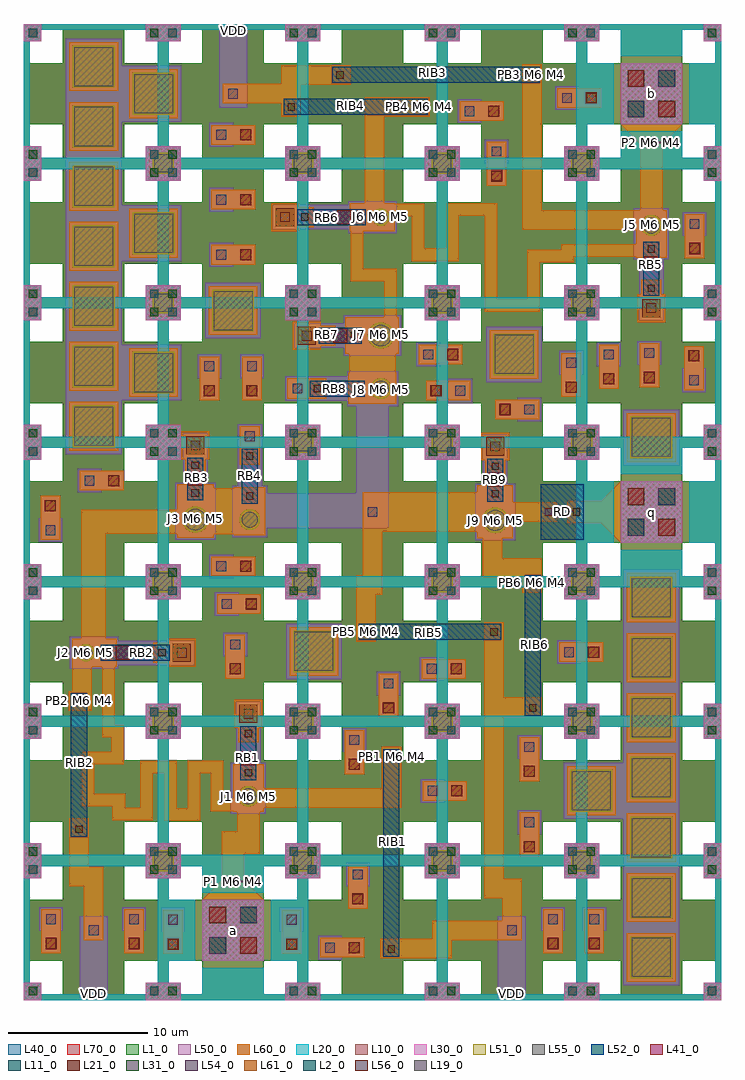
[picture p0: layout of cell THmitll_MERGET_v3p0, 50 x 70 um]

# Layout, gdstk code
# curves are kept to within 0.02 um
from math import pi, radians
import gdstk
lib = gdstk.Library(unit=1e-6, precision=1e-09)
def R(c, l, rs):  # rectangles x0, y0, x1, y1
    for r in rs: c.add(gdstk.rectangle(r[:2], r[2:], *l))
def P(c, l, *ps):  # polygons
    for p in ps: c.add(gdstk.Polygon(p, *l))
L1_0 = (1, 0)
L2_0 = (2, 0)
L10_0 = (10, 0)
L11_0 = (11, 0)
L19_0 = (19, 0)
L20_0 = (20, 0)
L21_0 = (21, 0)
L30_0 = (30, 0)
L31_0 = (31, 0)
L40_0 = (40, 0)
L41_0 = (41, 0)
L50_0 = (50, 0)
L51_0 = (51, 0)
L52_0 = (52, 0)
L54_0 = (54, 0)
L55_0 = (55, 0)
L56_0 = (56, 0)
L60_0 = (60, 0)
L61_0 = (61, 0)
L70_0 = (70, 0)

ls_tr_m7 = lib.new_cell('ls_tr_M7')
P(ls_tr_m7, L70_0, [(0,0),(0,10),(1.25,10),(1.25,8.75),(0.4,8.75),(0.4,1.25),(1.25,1.25),(1.25,0.4),(2.8,0.4),(2.8,2.8),(0.4,2.8),(0.4,7.2),(2.8,7.2),(2.8,9.6),(1.25,9.6),(1.25,10),(7.2,10),(7.2,0.4),(8.75,0.4),(8.75,1.25),(9.6,1.25),(9.6,2.8),(7.2,2.8),(7.2,7.2),(9.6,7.2),(9.6,8.75),(8.75,8.75),(8.75,9.6),(7.2,9.6),(7.2,10),(10,10),(10,0)])

ls_tr_u_m4 = lib.new_cell('ls_tr_u_M4')
P(ls_tr_u_m4, L1_0, [(0,0),(0,10),(1.25,10),(1.25,8.75),(0.4,8.75),(0.4,1.25),(1.25,1.25),(1.25,0.4),(2.8,0.4),(2.8,2.8),(0.4,2.8),(0.4,7.2),(2.8,7.2),(2.8,9.6),(1.25,9.6),(1.25,10),(7.2,10),(7.2,0.4),(8.75,0.4),(8.75,1.25),(9.6,1.25),(9.6,2.8),(7.2,2.8),(7.2,7.2),(9.6,7.2),(9.6,8.75),(8.75,8.75),(8.75,9.6),(7.2,9.6),(7.2,10),(10,10),(10,0)])
R(ls_tr_u_m4, L2_0, [(9.05,0.35,9.65,0.95), (0.35,9.05,0.95,9.65)])
R(ls_tr_u_m4, L10_0, [(0,0,1.25,1.25), (8.75,0,10,1.25), (0,8.75,1.25,10), (8.75,8.75,10,10)])
R(ls_tr_u_m4, L11_0, [(0.35,0.35,0.95,0.95), (9.05,9.05,9.65,9.65)])
P(ls_tr_u_m4, L20_0, [(0,0),(0,10),(1.25,10),(1.25,8.75),(0.4,8.75),(0.4,1.25),(1.25,1.25),(1.25,0.4),(8.75,0.4),(8.75,1.25),(9.6,1.25),(9.6,8.75),(8.75,8.75),(8.75,9.6),(1.25,9.6),(1.25,10),(10,10),(10,0)])
R(ls_tr_u_m4, L21_0, [(9.05,0.35,9.65,0.95), (0.35,9.05,0.95,9.65)])
R(ls_tr_u_m4, L30_0, [(0,0,1.25,1.25), (8.75,0,10,1.25), (0,8.75,1.25,10), (8.75,8.75,10,10)])
R(ls_tr_u_m4, L31_0, [(0.35,0.35,0.95,0.95), (9.05,9.05,9.65,9.65)])
P(ls_tr_u_m4, L40_0, [(0,0),(0,10),(1.25,10),(1.25,8.75),(0.4,8.75),(0.4,1.25),(1.25,1.25),(1.25,0.4),(2.8,0.4),(2.8,2.8),(0.4,2.8),(0.4,7.2),(2.8,7.2),(2.8,9.6),(1.25,9.6),(1.25,10),(7.2,10),(7.2,0.4),(8.75,0.4),(8.75,1.25),(9.6,1.25),(9.6,2.8),(7.2,2.8),(7.2,7.2),(9.6,7.2),(9.6,8.75),(8.75,8.75),(8.75,9.6),(7.2,9.6),(7.2,10),(10,10),(10,0)])
ls_tr_u_m4.add(gdstk.Reference(ls_tr_m7, (0,0)))

ls_conn_m5m6m7 = lib.new_cell('ls_conn_M5M6M7')
R(ls_conn_m5m6m7, L60_0, [(-0.65,-0.65,1.35,1.35)])
R(ls_conn_m5m6m7, L61_0, [(-0.3,-0.3,1,1)])
R(ls_conn_m5m6m7, L70_0, [(-0.65,-0.65,1.35,1.35)])

th_jj_160_sg = lib.new_cell('th_jj_160_sg')
R(th_jj_160_sg, L41_0, [(-0.5,2.225,0.5,3.225)])
R(th_jj_160_sg, L50_0, [(-1.25,-1.25,1.25,2.425), (-0.875,2.425,0.875,6.8)])
P(th_jj_160_sg, L51_0, [(0,-0.735),(-0.28,-0.68),(-0.52,-0.52),(-0.68,-0.28),(-0.735,0),(-0.68,0.28),(-0.52,0.52),(-0.28,0.68),(0,0.735),(0.28,0.68),(0.52,0.52),(0.68,0.28),(0.735,0),(0.68,-0.28),(0.52,-0.52),(0.28,-0.68)])
R(th_jj_160_sg, L52_0, [(-0.575,1.15,0.575,5.05)])
R(th_jj_160_sg, L54_0, [(-0.35,5.575,0.35,6.275)])
P(th_jj_160_sg, L55_0, [(0,-0.58),(-0.22,-0.54),(-0.41,-0.41),(-0.54,-0.22),(-0.58,0),(-0.54,0.23),(-0.41,0.42),(-0.22,0.54),(0,0.59),(0.22,0.54),(0.41,0.42),(0.54,0.23),(0.58,0),(0.54,-0.22),(0.41,-0.41),(0.22,-0.54)])
R(th_jj_160_sg, L56_0, [(-0.26,1.43,0.26,1.95), (-0.26,4.25,0.26,4.77)])
R(th_jj_160_sg, L60_0, [(-1.1,-1.1,1.1,2.325), (-0.725,3.875,0.725,6.65)])
th_jj_160_sg.add(gdstk.Reference(ls_conn_m5m6m7, (0.35,5.575), rotation=pi/2))

ls_res_1p36 = lib.new_cell('ls_res_1p36')
R(ls_res_1p36, L52_0, [(-2,0,2,3.1)])
R(ls_res_1p36, L56_0, [(-0.26,0.29,0.26,0.81), (-0.26,2.3,0.26,2.82)])
R(ls_res_1p36, L60_0, [(-0.625,-0.1,0.625,1.175), (-0.625,1.925,0.625,3.2)])

th_jj_250_sg = lib.new_cell('th_jj_250_sg')
R(th_jj_250_sg, L41_0, [(-0.5,2.4,0.5,3.4)])
R(th_jj_250_sg, L50_0, [(-1.425,-1.425,1.425,2.625), (-0.875,2.625,0.875,6.175)])
P(th_jj_250_sg, L51_0, [(0,-0.91),(-0.18,-0.895),(-0.35,-0.84),(-0.645,-0.645),(-0.84,-0.35),(-0.91,0),(-0.895,0.18),(-0.84,0.35),(-0.645,0.645),(-0.35,0.84),(-0.18,0.895),(0,0.91),(0.18,0.895),(0.35,0.84),(0.645,0.645),(0.84,0.35),(0.895,0.18),(0.91,0),(0.84,-0.35),(0.645,-0.645),(0.35,-0.84),(0.18,-0.895)])
R(th_jj_250_sg, L52_0, [(-0.575,1.35,0.575,4.425)])
R(th_jj_250_sg, L54_0, [(-0.35,4.95,0.35,5.65)])
P(th_jj_250_sg, L55_0, [(0,-0.76),(-0.15,-0.75),(-0.29,-0.7),(-0.54,-0.54),(-0.7,-0.29),(-0.75,-0.15),(-0.76,0),(-0.75,0.15),(-0.7,0.29),(-0.54,0.54),(-0.29,0.7),(-0.15,0.75),(0,0.76),(0.15,0.75),(0.29,0.7),(0.54,0.54),(0.7,0.29),(0.75,0.15),(0.76,0),(0.75,-0.15),(0.7,-0.29),(0.54,-0.54),(0.29,-0.7),(0.15,-0.75)])
R(th_jj_250_sg, L56_0, [(-0.26,1.64,0.26,2.16), (-0.26,3.63,0.26,4.15)])
R(th_jj_250_sg, L60_0, [(-1.275,-1.275,1.275,2.525), (-0.725,3.25,0.725,6.025)])
th_jj_250_sg.add(gdstk.Reference(ls_conn_m5m6m7, (0.35,4.95), rotation=pi/2))

th_jj_156_s = lib.new_cell('th_jj_156_s')
R(th_jj_156_s, L50_0, [(-1.25,-1.25,1.25,2.425), (-0.875,2.425,0.875,6.85)])
P(th_jj_156_s, L51_0, [(-0.06,-0.725),(-0.06,-0.72),(-0.105,-0.72),(-0.105,-0.715),(-0.135,-0.715),(-0.135,-0.71),(-0.155,-0.71),(-0.155,-0.705),(-0.18,-0.705),(-0.18,-0.7),(-0.195,-0.7),(-0.195,-0.695),(-0.215,-0.695),(-0.215,-0.69),(-0.23,-0.69),(-0.23,-0.685),(-0.245,-0.685),(-0.245,-0.68),(-0.26,-0.68),(-0.26,-0.675),(-0.27,-0.675),(-0.27,-0.67),(-0.28,-0.67),(-0.28,-0.665),(-0.295,-0.665),(-0.295,-0.66),(-0.305,-0.66),(-0.305,-0.655),(-0.315,-0.655),(-0.315,-0.65),(-0.325,-0.65),(-0.325,-0.645),(-0.335,-0.645),(-0.335,-0.64),(-0.345,-0.64),(-0.345,-0.635),(-0.355,-0.635),(-0.355,-0.63),(-0.36,-0.63),(-0.36,-0.625),(-0.37,-0.625),(-0.37,-0.62),(-0.38,-0.62),(-0.38,-0.615),(-0.385,-0.615),(-0.385,-0.61),(-0.395,-0.61),(-0.395,-0.605),(-0.4,-0.605),(-0.4,-0.6),(-0.41,-0.6),(-0.41,-0.595),(-0.415,-0.595),(-0.415,-0.59),(-0.425,-0.59),(-0.425,-0.585),(-0.43,-0.585),(-0.43,-0.58),(-0.435,-0.58),(-0.435,-0.575),(-0.445,-0.575),(-0.445,-0.57),(-0.45,-0.57),(-0.45,-0.565),(-0.455,-0.565),(-0.455,-0.56),(-0.46,-0.56),(-0.46,-0.555),(-0.47,-0.555),(-0.47,-0.55),(-0.475,-0.55),(-0.475,-0.545),(-0.48,-0.545),(-0.48,-0.54),(-0.485,-0.54),(-0.485,-0.535),(-0.49,-0.535),(-0.49,-0.53),(-0.495,-0.53),(-0.495,-0.525),(-0.5,-0.525),(-0.5,-0.52),(-0.505,-0.52),(-0.505,-0.515),(-0.51,-0.515),(-0.51,-0.51),(-0.515,-0.51),(-0.515,-0.505),(-0.52,-0.505),(-0.52,-0.5),(-0.525,-0.5),(-0.525,-0.495),(-0.53,-0.495),(-0.53,-0.49),(-0.535,-0.49),(-0.535,-0.485),(-0.545,-0.485),(-0.545,-0.47),(-0.55,-0.47),(-0.55,-0.465),(-0.555,-0.465),(-0.555,-0.46),(-0.565,-0.46),(-0.565,-0.445),(-0.57,-0.445),(-0.57,-0.44),(-0.58,-0.44),(-0.58,-0.425),(-0.585,-0.425),(-0.585,-0.42),(-0.595,-0.42),(-0.595,-0.405),(-0.605,-0.405),(-0.605,-0.39),(-0.615,-0.39),(-0.615,-0.375),(-0.625,-0.375),(-0.625,-0.365),(-0.63,-0.365),(-0.63,-0.35),(-0.64,-0.35),(-0.64,-0.33),(-0.65,-0.33),(-0.65,-0.31),(-0.66,-0.31),(-0.66,-0.295),(-0.665,-0.295),(-0.665,-0.285),(-0.67,-0.285),(-0.67,-0.275),(-0.675,-0.275),(-0.675,-0.26),(-0.68,-0.26),(-0.68,-0.25),(-0.685,-0.25),(-0.685,-0.23),(-0.69,-0.23),(-0.69,-0.215),(-0.695,-0.215),(-0.695,-0.2),(-0.7,-0.2),(-0.7,-0.18),(-0.705,-0.18),(-0.705,-0.16),(-0.71,-0.16),(-0.71,-0.135),(-0.715,-0.135),(-0.715,-0.11),(-0.72,-0.11),(-0.72,-0.07),(-0.725,-0.07),(-0.725,0.065),(-0.72,0.065),(-0.72,0.105),(-0.715,0.105),(-0.715,0.135),(-0.71,0.135),(-0.71,0.16),(-0.705,0.16),(-0.705,0.18),(-0.7,0.18),(-0.7,0.2),(-0.695,0.2),(-0.695,0.215),(-0.69,0.215),(-0.69,0.23),(-0.685,0.23),(-0.685,0.245),(-0.68,0.245),(-0.68,0.26),(-0.675,0.26),(-0.675,0.275),(-0.67,0.275),(-0.67,0.285),(-0.665,0.285),(-0.665,0.295),(-0.66,0.295),(-0.66,0.305),(-0.655,0.305),(-0.655,0.315),(-0.65,0.315),(-0.65,0.325),(-0.645,0.325),(-0.645,0.335),(-0.64,0.335),(-0.64,0.345),(-0.635,0.345),(-0.635,0.355),(-0.63,0.355),(-0.63,0.37),(-0.62,0.37),(-0.62,0.38),(-0.615,0.38),(-0.615,0.395),(-0.605,0.395),(-0.605,0.41),(-0.6,0.41),(-0.6,0.415),(-0.59,0.415),(-0.59,0.43),(-0.58,0.43),(-0.58,0.445),(-0.575,0.445),(-0.575,0.45),(-0.57,0.45),(-0.57,0.455),(-0.56,0.455),(-0.56,0.47),(-0.555,0.47),(-0.555,0.475),(-0.55,0.475),(-0.55,0.48),(-0.545,0.48),(-0.545,0.485),(-0.54,0.485),(-0.54,0.49),(-0.535,0.49),(-0.535,0.495),(-0.53,0.495),(-0.53,0.5),(-0.525,0.5),(-0.525,0.505),(-0.52,0.505),(-0.52,0.51),(-0.515,0.51),(-0.515,0.515),(-0.51,0.515),(-0.51,0.52),(-0.505,0.52),(-0.505,0.525),(-0.5,0.525),(-0.5,0.53),(-0.495,0.53),(-0.495,0.535),(-0.49,0.535),(-0.49,0.54),(-0.485,0.54),(-0.485,0.545),(-0.475,0.545),(-0.475,0.55),(-0.47,0.55),(-0.47,0.555),(-0.465,0.555),(-0.465,0.56),(-0.46,0.56),(-0.46,0.565),(-0.455,0.565),(-0.455,0.57),(-0.45,0.57),(-0.45,0.575),(-0.44,0.575),(-0.44,0.58),(-0.435,0.58),(-0.435,0.585),(-0.43,0.585),(-0.43,0.59),(-0.42,0.59),(-0.42,0.595),(-0.415,0.595),(-0.415,0.6),(-0.405,0.6),(-0.405,0.605),(-0.4,0.605),(-0.4,0.61),(-0.39,0.61),(-0.39,0.615),(-0.385,0.615),(-0.385,0.62),(-0.375,0.62),(-0.375,0.625),(-0.365,0.625),(-0.365,0.63),(-0.355,0.63),(-0.355,0.635),(-0.35,0.635),(-0.35,0.64),(-0.34,0.64),(-0.34,0.645),(-0.33,0.645),(-0.33,0.65),(-0.32,0.65),(-0.32,0.655),(-0.31,0.655),(-0.31,0.66),(-0.3,0.66),(-0.3,0.665),(-0.29,0.665),(-0.29,0.67),(-0.275,0.67),(-0.275,0.675),(-0.26,0.675),(-0.26,0.68),(-0.25,0.68),(-0.25,0.685),(-0.235,0.685),(-0.235,0.69),(-0.22,0.69),(-0.22,0.695),(-0.205,0.695),(-0.205,0.7),(-0.185,0.7),(-0.185,0.705),(-0.165,0.705),(-0.165,0.71),(-0.14,0.71),(-0.14,0.715),(-0.115,0.715),(-0.115,0.72),(-0.075,0.72),(-0.075,0.725),(0.07,0.725),(0.07,0.72),(0.11,0.72),(0.11,0.715),(0.14,0.715),(0.14,0.71),(0.165,0.71),(0.165,0.705),(0.18,0.705),(0.18,0.7),(0.2,0.7),(0.2,0.695),(0.215,0.695),(0.215,0.69),(0.235,0.69),(0.235,0.685),(0.245,0.685),(0.245,0.68),(0.26,0.68),(0.26,0.675),(0.27,0.675),(0.27,0.67),(0.285,0.67),(0.285,0.665),(0.295,0.665),(0.295,0.66),(0.305,0.66),(0.305,0.655),(0.32,0.655),(0.32,0.65),(0.325,0.65),(0.325,0.645),(0.335,0.645),(0.335,0.64),(0.345,0.64),(0.345,0.635),(0.355,0.635),(0.355,0.63),(0.365,0.63),(0.365,0.625),(0.375,0.625),(0.375,0.62),(0.38,0.62),(0.38,0.615),(0.39,0.615),(0.39,0.61),(0.395,0.61),(0.395,0.605),(0.405,0.605),(0.405,0.6),(0.41,0.6),(0.41,0.595),(0.42,0.595),(0.42,0.59),(0.425,0.59),(0.425,0.585),(0.43,0.585),(0.43,0.58),(0.44,0.58),(0.44,0.575),(0.445,0.575),(0.445,0.57),(0.45,0.57),(0.45,0.565),(0.455,0.565),(0.455,0.56),(0.465,0.56),(0.465,0.555),(0.47,0.555),(0.47,0.55),(0.475,0.55),(0.475,0.545),(0.48,0.545),(0.48,0.54),(0.485,0.54),(0.485,0.535),(0.49,0.535),(0.49,0.53),(0.495,0.53),(0.495,0.525),(0.5,0.525),(0.5,0.52),(0.505,0.52),(0.505,0.515),(0.51,0.515),(0.51,0.51),(0.515,0.51),(0.515,0.505),(0.52,0.505),(0.52,0.5),(0.525,0.5),(0.525,0.495),(0.53,0.495),(0.53,0.49),(0.535,0.49),(0.535,0.485),(0.545,0.485),(0.545,0.47),(0.55,0.47),(0.55,0.465),(0.555,0.465),(0.555,0.46),(0.56,0.46),(0.56,0.455),(0.57,0.455),(0.57,0.44),(0.575,0.44),(0.575,0.435),(0.585,0.435),(0.585,0.42),(0.595,0.42),(0.595,0.405),(0.6,0.405),(0.6,0.4),(0.61,0.4),(0.61,0.385),(0.62,0.385),(0.62,0.375),(0.625,0.375),(0.625,0.365),(0.63,0.365),(0.63,0.35),(0.64,0.35),(0.64,0.34),(0.645,0.34),(0.645,0.33),(0.65,0.33),(0.65,0.32),(0.655,0.32),(0.655,0.31),(0.66,0.31),(0.66,0.295),(0.665,0.295),(0.665,0.285),(0.67,0.285),(0.67,0.275),(0.675,0.275),(0.675,0.26),(0.68,0.26),(0.68,0.25),(0.685,0.25),(0.685,0.235),(0.69,0.235),(0.69,0.22),(0.695,0.22),(0.695,0.2),(0.7,0.2),(0.7,0.185),(0.705,0.185),(0.705,0.16),(0.71,0.16),(0.71,0.14),(0.715,0.14),(0.715,0.11),(0.72,0.11),(0.72,0.07),(0.725,0.07),(0.725,-0.065),(0.72,-0.065),(0.72,-0.105),(0.715,-0.105),(0.715,-0.135),(0.71,-0.135),(0.71,-0.16),(0.705,-0.16),(0.705,-0.18),(0.7,-0.18),(0.7,-0.2),(0.695,-0.2),(0.695,-0.215),(0.69,-0.215),(0.69,-0.23),(0.685,-0.23),(0.685,-0.245),(0.68,-0.245),(0.68,-0.26),(0.675,-0.26),(0.675,-0.27),(0.67,-0.27),(0.67,-0.28),(0.665,-0.28),(0.665,-0.295),(0.66,-0.295),(0.66,-0.305),(0.655,-0.305),(0.655,-0.315),(0.65,-0.315),(0.65,-0.325),(0.645,-0.325),(0.645,-0.335),(0.64,-0.335),(0.64,-0.345),(0.635,-0.345),(0.635,-0.36),(0.625,-0.36),(0.625,-0.37),(0.62,-0.37),(0.62,-0.38),(0.615,-0.38),(0.615,-0.395),(0.61,-0.395),(0.61,-0.4),(0.6,-0.4),(0.6,-0.415),(0.59,-0.415),(0.59,-0.43),(0.585,-0.43),(0.585,-0.435),(0.575,-0.435),(0.575,-0.45),(0.57,-0.45),(0.57,-0.455),(0.565,-0.455),(0.565,-0.46),(0.555,-0.46),(0.555,-0.475),(0.55,-0.475),(0.55,-0.48),(0.545,-0.48),(0.545,-0.485),(0.54,-0.485),(0.54,-0.49),(0.535,-0.49),(0.535,-0.495),(0.53,-0.495),(0.53,-0.5),(0.525,-0.5),(0.525,-0.505),(0.52,-0.505),(0.52,-0.51),(0.515,-0.51),(0.515,-0.515),(0.51,-0.515),(0.51,-0.52),(0.505,-0.52),(0.505,-0.525),(0.5,-0.525),(0.5,-0.53),(0.495,-0.53),(0.495,-0.535),(0.49,-0.535),(0.49,-0.54),(0.48,-0.54),(0.48,-0.545),(0.475,-0.545),(0.475,-0.55),(0.47,-0.55),(0.47,-0.555),(0.465,-0.555),(0.465,-0.56),(0.46,-0.56),(0.46,-0.565),(0.45,-0.565),(0.45,-0.57),(0.445,-0.57),(0.445,-0.575),(0.44,-0.575),(0.44,-0.58),(0.435,-0.58),(0.435,-0.585),(0.425,-0.585),(0.425,-0.59),(0.42,-0.59),(0.42,-0.595),(0.41,-0.595),(0.41,-0.6),(0.405,-0.6),(0.405,-0.605),(0.395,-0.605),(0.395,-0.61),(0.39,-0.61),(0.39,-0.615),(0.38,-0.615),(0.38,-0.62),(0.375,-0.62),(0.375,-0.625),(0.365,-0.625),(0.365,-0.63),(0.355,-0.63),(0.355,-0.635),(0.35,-0.635),(0.35,-0.64),(0.335,-0.64),(0.335,-0.645),(0.33,-0.645),(0.33,-0.65),(0.315,-0.65),(0.315,-0.655),(0.305,-0.655),(0.305,-0.66),(0.295,-0.66),(0.295,-0.665),(0.285,-0.665),(0.285,-0.67),(0.275,-0.67),(0.275,-0.675),(0.26,-0.675),(0.26,-0.68),(0.245,-0.68),(0.245,-0.685),(0.23,-0.685),(0.23,-0.69),(0.215,-0.69),(0.215,-0.695),(0.2,-0.695),(0.2,-0.7),(0.18,-0.7),(0.18,-0.705),(0.16,-0.705),(0.16,-0.71),(0.135,-0.71),(0.135,-0.715),(0.105,-0.715),(0.105,-0.72),(0.06,-0.72),(0.06,-0.725)])
R(th_jj_156_s, L52_0, [(-0.575,1.15,0.575,5.1)])
R(th_jj_156_s, L54_0, [(-0.35,5.625,0.35,6.325)])
P(th_jj_156_s, L55_0, [(0,-0.58),(-0.22,-0.54),(-0.41,-0.41),(-0.53,-0.23),(-0.58,0),(-0.53,0.22),(-0.41,0.4),(-0.22,0.53),(0,0.57),(0.22,0.53),(0.41,0.4),(0.53,0.22),(0.58,0),(0.53,-0.23),(0.41,-0.41),(0.22,-0.54)])
R(th_jj_156_s, L56_0, [(-0.26,1.43,0.26,1.95), (-0.26,4.31,0.26,4.83)])
R(th_jj_156_s, L60_0, [(-1.1,-1.1,1.1,2.325), (-0.725,3.925,0.725,6.7)])

th_jj_110_sg = lib.new_cell('th_jj_110_sg')
R(th_jj_110_sg, L41_0, [(-0.5,2.125,0.5,3.125)])
R(th_jj_110_sg, L50_0, [(-1.15,-1.15,1.15,2.325), (-0.875,2.325,0.875,7.75)])
P(th_jj_110_sg, L51_0, [(0,-0.615),(-0.235,-0.57),(-0.435,-0.435),(-0.57,-0.235),(-0.615,0),(-0.57,0.235),(-0.435,0.435),(-0.235,0.565),(0,0.615),(0.235,0.565),(0.435,0.435),(0.57,0.235),(0.615,0),(0.57,-0.235),(0.435,-0.435),(0.235,-0.57)])
R(th_jj_110_sg, L52_0, [(-0.575,1.075,0.575,6)])
R(th_jj_110_sg, L54_0, [(-0.35,6.525,0.35,7.225)])
P(th_jj_110_sg, L55_0, [(0,-0.46),(-0.18,-0.43),(-0.33,-0.32),(-0.43,-0.17),(-0.47,0.01),(-0.43,0.18),(-0.33,0.33),(-0.18,0.43),(0,0.47),(0.18,0.43),(0.33,0.33),(0.43,0.18),(0.47,0.01),(0.43,-0.17),(0.33,-0.32),(0.18,-0.43)])
R(th_jj_110_sg, L56_0, [(-0.26,1.34,0.26,1.86), (-0.26,5.2,0.26,5.72)])
R(th_jj_110_sg, L60_0, [(-1,-1,1,2.225), (-0.725,4.825,0.725,7.6)])
th_jj_110_sg.add(gdstk.Reference(ls_conn_m5m6m7, (0.35,6.525), rotation=pi/2))

th_jj_261_sg = lib.new_cell('th_jj_261_sg')
R(th_jj_261_sg, L41_0, [(-0.5,2.425,0.5,3.425)])
R(th_jj_261_sg, L50_0, [(-1.45,-1.45,1.45,2.65), (-0.875,2.65,0.875,6.2)])
P(th_jj_261_sg, L51_0, [(0,-0.93),(-0.355,-0.86),(-0.66,-0.66),(-0.86,-0.355),(-0.93,0),(-0.86,0.355),(-0.66,0.655),(-0.355,0.86),(0,0.93),(0.355,0.86),(0.66,0.655),(0.86,0.355),(0.93,0),(0.86,-0.355),(0.66,-0.66),(0.355,-0.86)])
R(th_jj_261_sg, L52_0, [(-0.575,1.375,0.575,4.45)])
R(th_jj_261_sg, L54_0, [(-0.35,4.975,0.35,5.675)])
P(th_jj_261_sg, L55_0, [(0,-0.78),(-0.3,-0.72),(-0.55,-0.55),(-0.72,-0.3),(-0.78,0),(-0.72,0.3),(-0.55,0.55),(-0.3,0.72),(0,0.78),(0.3,0.72),(0.55,0.55),(0.72,0.3),(0.78,0),(0.72,-0.3),(0.55,-0.55),(0.3,-0.72)])
R(th_jj_261_sg, L56_0, [(-0.29,1.65,0.29,2.17), (-0.29,3.65,0.29,4.17)])
R(th_jj_261_sg, L60_0, [(-1.3,-1.3,1.3,2.55), (-0.725,3.275,0.725,6.05)])
th_jj_261_sg.add(gdstk.Reference(ls_conn_m5m6m7, (0.35,4.975), rotation=pi/2))

th_ib_112 = lib.new_cell('th_ib_112')
R(th_ib_112, L52_0, [(-0.575,0,0.575,14.875)])
R(th_ib_112, L56_0, [(-0.26,0.29,0.26,0.81), (-0.26,14.07,0.26,14.59)])
R(th_ib_112, L60_0, [(-0.625,-0.1,0.625,1.175), (-0.625,13.7,0.625,14.975)])

th_ib_170 = lib.new_cell('th_ib_170')
R(th_ib_170, L52_0, [(-0.575,0,0.575,10.3)])
R(th_ib_170, L56_0, [(-0.26,0.29,0.26,0.81), (-0.26,9.52,0.26,10.04)])
R(th_ib_170, L60_0, [(-0.625,-0.1,0.625,1.175), (-0.625,9.15,0.625,10.4)])

th_ib_171 = lib.new_cell('th_ib_171')
R(th_ib_171, L52_0, [(-0.575,0,0.575,10.25)])
R(th_ib_171, L56_0, [(-0.26,0.29,0.26,0.81), (-0.26,9.46,0.26,9.98)])
R(th_ib_171, L60_0, [(-0.625,-0.1,0.625,1.175), (-0.625,9.1,0.625,10.35)])

th_ib_175 = lib.new_cell('th_ib_175')
R(th_ib_175, L52_0, [(-0.575,0,0.575,10.05)])
R(th_ib_175, L56_0, [(-0.26,0.29,0.26,0.81), (-0.26,9.26,0.26,9.78)])
R(th_ib_175, L60_0, [(-0.625,-0.1,0.625,1.175), (-0.625,8.9,0.625,10.15)])

ls_tr_ptlconnection = lib.new_cell('ls_tr_PTLconnection')
P(ls_tr_ptlconnection, L1_0, [(0,0),(0,10),(1.25,10),(1.25,8.75),(0.4,8.75),(0.4,1.25),(1.25,1.25),(1.25,0.4),(2.8,0.4),(2.8,2.8),(0.4,2.8),(0.4,7.2),(2.8,7.2),(2.8,9.6),(1.25,9.6),(1.25,10),(7.2,10),(7.2,0.4),(8.75,0.4),(8.75,1.25),(9.6,1.25),(9.6,2.8),(7.2,2.8),(7.2,7.2),(9.6,7.2),(9.6,8.75),(8.75,8.75),(8.75,9.6),(7.2,9.6),(7.2,10),(10,10),(10,0)])
R(ls_tr_ptlconnection, L2_0, [(9.05,0.35,9.65,0.95), (0.35,9.05,0.95,9.65)])
R(ls_tr_ptlconnection, L10_0, [(0,0,1.25,1.25), (8.75,0,10,1.25), (2.8,2.8,7.2,7.2), (0,8.75,1.25,10), (8.75,8.75,10,10)])
R(ls_tr_ptlconnection, L11_0, [(0.35,0.35,0.95,0.95), (3.3,3.3,4.5,4.5), (5.5,5.5,6.7,6.7), (9.05,9.05,9.65,9.65)])
R(ls_tr_ptlconnection, L20_0, [(2.8,2.8,7.2,7.2)])
P(ls_tr_ptlconnection, L20_0, [(0,0),(0,10),(7.2,10),(7.2,7.7),(2.8,7.7),(2.8,9.6),(1.25,9.6),(1.25,8.75),(0.4,8.75),(0.4,7.2),(2.3,7.2),(2.3,2.8),(0.4,2.8),(0.4,1.25),(1.25,1.25),(1.25,0.4),(2.8,0.4),(2.8,2.3),(7.2,2.3),(7.2,0.4),(8.75,0.4),(8.75,1.25),(9.6,1.25),(9.6,2.8),(7.7,2.8),(7.7,7.2),(9.6,7.2),(9.6,8.75),(8.75,8.75),(8.75,9.6),(7.2,9.6),(7.2,10),(10,10),(10,0)])
R(ls_tr_ptlconnection, L21_0, [(9.05,0.35,9.65,0.95), (5.5,3.3,6.7,4.5), (3.3,5.5,4.5,6.7), (0.35,9.05,0.95,9.65)])
R(ls_tr_ptlconnection, L30_0, [(0,0,1.25,1.25), (8.75,0,10,1.25), (2.8,2.8,7.2,7.2), (0,8.75,1.25,10), (8.75,8.75,10,10)])
R(ls_tr_ptlconnection, L31_0, [(0.35,0.35,0.95,0.95), (3.3,3.3,4.5,4.5), (5.5,5.5,6.7,6.7), (9.05,9.05,9.65,9.65)])
R(ls_tr_ptlconnection, L40_0, [(2.8,2.8,7.2,7.2)])
P(ls_tr_ptlconnection, L40_0, [(0,0),(0,10),(7.2,10),(7.2,7.7),(2.8,7.7),(2.8,9.6),(1.25,9.6),(1.25,8.75),(0.4,8.75),(0.4,7.2),(2.3,7.2),(2.3,2.8),(0.4,2.8),(0.4,1.25),(1.25,1.25),(1.25,0.4),(2.8,0.4),(2.8,2.3),(7.2,2.3),(7.2,0.4),(8.75,0.4),(8.75,1.25),(9.6,1.25),(9.6,2.8),(7.7,2.8),(7.7,7.2),(9.6,7.2),(9.6,8.75),(8.75,8.75),(8.75,9.6),(7.2,9.6),(7.2,10),(10,10),(10,0)])
R(ls_tr_ptlconnection, L41_0, [(5.5,3.3,6.7,4.5), (3.3,5.5,4.5,6.7)])
R(ls_tr_ptlconnection, L50_0, [(2.8,2.8,7.2,7.2)])
R(ls_tr_ptlconnection, L54_0, [(3.3,3.3,4.5,4.5), (5.5,5.5,6.7,6.7)])
R(ls_tr_ptlconnection, L60_0, [(2.8,2.8,7.2,7.2)])
P(ls_tr_ptlconnection, L70_0, [(0,0),(0,10),(1.25,10),(1.25,8.75),(0.4,8.75),(0.4,1.25),(1.25,1.25),(1.25,0.4),(2.8,0.4),(2.8,2.8),(0.4,2.8),(0.4,7.2),(2.8,7.2),(2.8,9.6),(1.25,9.6),(1.25,10),(7.2,10),(7.2,0.4),(8.75,0.4),(8.75,1.25),(9.6,1.25),(9.6,2.8),(7.2,2.8),(7.2,7.2),(9.6,7.2),(9.6,8.75),(8.75,8.75),(8.75,9.6),(7.2,9.6),(7.2,10),(10,10),(10,0)])

ls_conn_m5m6 = lib.new_cell('ls_conn_M5M6')
R(ls_conn_m5m6, L50_0, [(0,0,1.7,1.7)])
R(ls_conn_m5m6, L54_0, [(0.5,0.5,1.2,1.2)])
R(ls_conn_m5m6, L60_0, [(0.15,0.15,1.55,1.55)])

ls_fakejj_3x3um = lib.new_cell('ls_fakeJJ_3x3um')
R(ls_fakejj_3x3um, L40_0, [(-2,-2,2,2)])
R(ls_fakejj_3x3um, L50_0, [(-2,-2,2,2)])
R(ls_fakejj_3x3um, L51_0, [(-1.5,-1.5,1.5,1.5)])
R(ls_fakejj_3x3um, L55_0, [(-1.4,-1.4,1.4,1.4)])
R(ls_fakejj_3x3um, L60_0, [(-1.75,-1.75,1.75,1.75)])

ls_conn_m4m5m6m7 = lib.new_cell('ls_conn_M4M5M6M7')
R(ls_conn_m4m5m6m7, L40_0, [(0,0,1.4,1.4)])
R(ls_conn_m4m5m6m7, L41_0, [(0.3,0.3,1.1,1.1)])
P(ls_conn_m4m5m6m7, L50_0, [(1.6,-0.15),(1.6,0),(0,0),(0,1.4),(1.6,1.4),(1.6,1.55),(3.3,1.55),(3.3,-0.15)])
R(ls_conn_m4m5m6m7, L54_0, [(2.1,0.35,2.8,1.05)])
R(ls_conn_m4m5m6m7, L60_0, [(0,0,3.15,1.4)])
R(ls_conn_m4m5m6m7, L61_0, [(0.35,0.35,1.05,1.05)])
R(ls_conn_m4m5m6m7, L70_0, [(0,0,1.4,1.4)])

ls_fakejj_1p5x1p5um = lib.new_cell('ls_FakeJJ_1p5x1p5um')
R(ls_fakejj_1p5x1p5um, L40_0, [(-1.25,-1.25,1.25,1.25)])
R(ls_fakejj_1p5x1p5um, L50_0, [(-1.25,-1.25,1.25,1.25)])
R(ls_fakejj_1p5x1p5um, L51_0, [(-0.75,-0.75,0.75,0.75)])
R(ls_fakejj_1p5x1p5um, L55_0, [(-0.65,-0.65,0.65,0.65)])
R(ls_fakejj_1p5x1p5um, L60_0, [(-1,-1,1,1)])

thmitll_merget_v3p0 = lib.new_cell('THmitll_MERGET_v3p0')
P(thmitll_merget_v3p0, L1_0, [(17.2,47.2),(17.2,49.6),(18.75,49.6),(18.75,48.75),(19.6,48.75),(19.6,47.2)],
  [(20.4,47.2),(20.4,48.75),(21.25,48.75),(21.25,49.6),(22.8,49.6),(22.8,47.2)],
  [(11.25,40.4),(11.25,41.25),(10.4,41.25),(10.4,42.8),(12.8,42.8),(12.8,40.4)],
  [(10.4,37.2),(10.4,38.75),(11.25,38.75),(11.25,39.6),(12.8,39.6),(12.8,37.2)])
R(thmitll_merget_v3p0, L19_0, [(26.1,17.15,26.7,17.7), (3.7,21.25,4.2,21.75), (24.3,26.1,24.85,26.65), (36.3,29.7,36.8,30.15), (37.35,34.75,37.85,35.25), (28.2,63.75,28.7,64.35), (36.2,66.1,36.7,66.6)])
P(thmitll_merget_v3p0, L40_0, [(20.4,47.2),(20.4,48.75),(21.25,48.75),(21.25,49.6),(22.8,49.6),(22.8,47.2)],
  [(10.4,37.2),(10.4,38.75),(11.25,38.75),(11.25,39.6),(12.8,39.6),(12.8,37.2)],
  [(11.25,40.4),(11.25,41.25),(10.4,41.25),(10.4,42.8),(12.8,42.8),(12.8,40.4)],
  [(17.2,47.2),(17.2,49.6),(18.75,49.6),(18.75,48.75),(19.6,48.75),(19.6,47.2)])
R(thmitll_merget_v3p0, L50_0, [(43,1.05,47,30.85), (38.7,13,43.45,17), (3,39.15,7,68.95), (6.1,43,11.3,47), (6.4,53,11.3,57), (6.6,63,11.3,67)])
P(thmitll_merget_v3p0, L60_0, [(45,60.6),(42.8,62.8),(47.2,62.8)],
  [(12.8,7.2),(15,9.4),(17.2,7.2)],
  [(42.8,32.8),(40.6,35),(42.8,37.2)])
P(thmitll_merget_v3p0, L70_0, [(17.2,47.2),(17.2,49.6),(18.75,49.6),(18.75,48.75),(19.6,48.75),(19.6,47.2)],
  [(20.4,47.2),(20.4,48.75),(21.25,48.75),(21.25,49.6),(22.8,49.6),(22.8,47.2)],
  [(10.4,37.2),(10.4,38.75),(11.25,38.75),(11.25,39.6),(12.8,39.6),(12.8,37.2)],
  [(11.25,40.4),(11.25,41.25),(10.4,41.25),(10.4,42.8),(12.8,42.8),(12.8,40.4)])
thmitll_merget_v3p0.add(gdstk.FlexPath([(6.05,24),(6.05,19.3),(6.7,19.3),(6.7,17.35),(4.6,17.35),(4.6,14.35),(6.8,14.35),(6.8,13.35),(8.8,13.35),(8.8,16.7),(10.5,16.7),(10.5,13.3),(12.2,13.3),(12.2,16.7),(13.85,16.7),(13.85,14),(15.15,14)], 0.9, ends="flush", simple_path=True, layer=60, datatype=0))  # L60_0
thmitll_merget_v3p0.add(gdstk.FlexPath([(26.4,56.65),(28.25,56.65),(28.25,53.45),(30.75,53.45),(30.75,56.7),(33.5,56.7),(33.5,49.8),(36.55,49.8),(36.55,53.35),(39,53.35),(39,53.75),(43.95,53.75)], 0.9, ends="flush", simple_path=True, layer=60, datatype=0))  # L60_0
thmitll_merget_v3p0.add(gdstk.FlexPath([(24.3,35),(32.65,35)], 2.8, ends="flush", simple_path=True, layer=60, datatype=0))  # L60_0
thmitll_merget_v3p0.add(gdstk.FlexPath([(11.1,34.3),(5,34.3),(5,25.75)], 1.75, ends="flush", simple_path=True, layer=60, datatype=0))  # L60_0
thmitll_merget_v3p0.add(gdstk.FlexPath([(38.95,35),(43,35)], 1.6, ends="flush", simple_path=True, layer=60, datatype=0))  # L60_0
thmitll_merget_v3p0.add(gdstk.FlexPath([(38.25,35),(34.9,35)], 1.4, ends="flush", simple_path=True, layer=60, datatype=0))  # L60_0
thmitll_merget_v3p0.add(gdstk.FlexPath([(25,44.85),(25,46.45)], 3.3, ends="flush", simple_path=True, layer=60, datatype=0))  # L60_0
thmitll_merget_v3p0.add(gdstk.FlexPath([(13.45,35.05),(15.25,35.05)], 3.3, ends="flush", simple_path=True, layer=60, datatype=0))  # L60_0
thmitll_merget_v3p0.add(gdstk.FlexPath([(45,56.55),(45,62.95)], 1.6, ends="flush", simple_path=True, layer=60, datatype=0))  # L60_0
thmitll_merget_v3p0.add(gdstk.FlexPath([(36.45,67.1),(36.45,55.95),(44,55.95)], 1.4, ends="flush", simple_path=True, layer=60, datatype=0))  # L60_0
thmitll_merget_v3p0.add(gdstk.FlexPath([(14.25,65),(17,65)], 1.4, ends="flush", simple_path=True, layer=60, datatype=0))  # L60_0
thmitll_merget_v3p0.add(gdstk.FlexPath([(17,65),(19.15,65),(19.15,63.35)], 1.4, ends="flush", simple_path=True, layer=60, datatype=0))  # L60_0
thmitll_merget_v3p0.add(gdstk.FlexPath([(19.15,65),(19.15,66.35),(23.45,66.35)], 1.4, ends="flush", simple_path=True, layer=60, datatype=0))  # L60_0
thmitll_merget_v3p0.add(gdstk.FlexPath([(29.1,64.05),(25.15,64.05),(25.15,57.05)], 1.4, ends="flush", simple_path=True, layer=60, datatype=0))  # L60_0
thmitll_merget_v3p0.add(gdstk.FlexPath([(23.9,55.25),(23.9,52),(26.3,52),(26.3,48.8)], 0.9, ends="flush", simple_path=True, layer=60, datatype=0))  # L60_0
thmitll_merget_v3p0.add(gdstk.FlexPath([(36.45,29.2),(36.45,31),(33.6,31),(33.6,33.3)], 1.4, ends="flush", simple_path=True, layer=60, datatype=0))  # L60_0
thmitll_merget_v3p0.add(gdstk.FlexPath([(24.55,25.7),(24.55,29.75),(25,29.75),(25,35)], 1.4, ends="flush", simple_path=True, layer=60, datatype=0))  # L60_0
thmitll_merget_v3p0.add(gdstk.FlexPath([(37.15,21),(33.7,21),(33.7,27.1)], 1.4, ends="flush", simple_path=True, layer=60, datatype=0))  # L60_0
thmitll_merget_v3p0.add(gdstk.FlexPath([(33.7,21),(33.7,8),(35,8),(35,4.7)], 1.4, ends="flush", simple_path=True, layer=60, datatype=0))  # L60_0
thmitll_merget_v3p0.add(gdstk.FlexPath([(3.2,21.45),(4.15,21.45),(4.15,24.05)], 1.4, ends="flush", simple_path=True, layer=60, datatype=0))  # L60_0
thmitll_merget_v3p0.add(gdstk.FlexPath([(3.95,13.05),(3.95,8.85),(5,8.85),(5,5)], 1.4, ends="flush", simple_path=True, layer=60, datatype=0))  # L60_0
thmitll_merget_v3p0.add(gdstk.FlexPath([(25.55,3.7),(30,3.7),(30,5),(35,5)], 1.4, ends="flush", simple_path=True, layer=60, datatype=0))  # L60_0
thmitll_merget_v3p0.add(gdstk.FlexPath([(17.1,14.5),(26.35,14.5),(26.35,18.15)], 1.4, ends="flush", simple_path=True, layer=60, datatype=0))  # L60_0
thmitll_merget_v3p0.add(gdstk.FlexPath([(15,7),(15,11.3),(16.1,11.3),(16.1,13.6)], 1.6, ends="flush", simple_path=True, layer=60, datatype=0))  # L60_0
thmitll_merget_v3p0.add(gdstk.FlexPath([(15,70),(15,64)], 2, ends="flush", simple_path=True, layer=50, datatype=0))  # L50_0
thmitll_merget_v3p0.add(gdstk.FlexPath([(5,6),(5,0)], 2, ends="flush", simple_path=True, layer=50, datatype=0))  # L50_0
thmitll_merget_v3p0.add(gdstk.FlexPath([(35,6),(35,0)], 2, ends="flush", simple_path=True, layer=50, datatype=0))  # L50_0
thmitll_merget_v3p0.add(gdstk.FlexPath([(17.3,35.1),(26,35.1)], 2.5, ends="flush", simple_path=True, layer=50, datatype=0))  # L50_0
thmitll_merget_v3p0.add(gdstk.FlexPath([(25,33.9),(25,42.7)], 2.3, ends="flush", simple_path=True, layer=50, datatype=0))  # L50_0
thmitll_merget_v3p0.add(gdstk.FlexPath([(44.2,61.5),(45.8,61.5)], 0.1, ends="flush", simple_path=True, layer=19, datatype=0))  # L19_0
thmitll_merget_v3p0.add(gdstk.FlexPath([(14.2,8.5),(15.8,8.5)], 0.1, ends="flush", simple_path=True, layer=19, datatype=0))  # L19_0
r = gdstk.Reference(ls_tr_u_m4, (0,0)); r.repetition = gdstk.Repetition(1, 7, v1=(0,0), v2=(0,10)); thmitll_merget_v3p0.add(r)
r = gdstk.Reference(ls_tr_u_m4, (10,10)); r.repetition = gdstk.Repetition(1, 6, v1=(0,0), v2=(0,10)); thmitll_merget_v3p0.add(r)
r = gdstk.Reference(ls_tr_u_m4, (20,0)); r.repetition = gdstk.Repetition(1, 7, v1=(0,0), v2=(0,10)); thmitll_merget_v3p0.add(r)
r = gdstk.Reference(ls_tr_u_m4, (30,0)); r.repetition = gdstk.Repetition(1, 7, v1=(0,0), v2=(0,10)); thmitll_merget_v3p0.add(r)
r = gdstk.Reference(ls_tr_u_m4, (40,0)); r.repetition = gdstk.Repetition(1, 3, v1=(0,0), v2=(0,10)); thmitll_merget_v3p0.add(r)
thmitll_merget_v3p0.add(gdstk.Reference(th_jj_160_sg, (45,55.55), rotation=pi))
thmitll_merget_v3p0.add(gdstk.Reference(ls_res_1p36, (37.05,35), rotation=3*pi/2))
thmitll_merget_v3p0.add(gdstk.Reference(th_jj_250_sg, (33.8,34.4)))
thmitll_merget_v3p0.add(gdstk.Reference(th_jj_156_s, (25.6,43.85), rotation=pi/2))
thmitll_merget_v3p0.add(gdstk.Reference(th_jj_110_sg, (25.6,56.15), rotation=pi/2))
thmitll_merget_v3p0.add(gdstk.Reference(th_jj_261_sg, (25.6,47.65), rotation=pi/2))
thmitll_merget_v3p0.add(gdstk.Reference(th_ib_112, (37,66.35), rotation=pi/2))
thmitll_merget_v3p0.add(gdstk.Reference(th_ib_170, (28.95,64.05), rotation=pi/2))
thmitll_merget_v3p0.add(gdstk.Reference(th_jj_156_s, (16.2,34.45)))
thmitll_merget_v3p0.add(gdstk.Reference(th_jj_261_sg, (12.3,34.45)))
thmitll_merget_v3p0.add(gdstk.Reference(th_ib_171, (24,26.4), rotation=3*pi/2))
thmitll_merget_v3p0.add(gdstk.Reference(th_ib_175, (36.5,20.4)))
thmitll_merget_v3p0.add(gdstk.Reference(th_jj_110_sg, (4.45,24.9), rotation=3*pi/2))
thmitll_merget_v3p0.add(gdstk.Reference(th_ib_170, (3.95,11.7)))
thmitll_merget_v3p0.add(gdstk.Reference(th_jj_160_sg, (16.1,14.6)))
thmitll_merget_v3p0.add(gdstk.Reference(th_ib_112, (26.35,3.1)))
r = gdstk.Reference(ls_tr_u_m4, (40,40)); r.repetition = gdstk.Repetition(1, 2, v1=(0,0), v2=(0,10)); thmitll_merget_v3p0.add(r)
thmitll_merget_v3p0.add(gdstk.Reference(ls_tr_ptlconnection, (50,40), rotation=pi))
thmitll_merget_v3p0.add(gdstk.Reference(ls_tr_ptlconnection, (50,70), rotation=pi))
thmitll_merget_v3p0.add(gdstk.Reference(ls_tr_ptlconnection, (20,10), rotation=pi))
thmitll_merget_v3p0.add(gdstk.Reference(ls_conn_m5m6, (15.85,65.85), rotation=pi))
thmitll_merget_v3p0.add(gdstk.Reference(ls_conn_m5m6, (35.85,5.85), rotation=pi))
thmitll_merget_v3p0.add(gdstk.Reference(ls_conn_m5m6, (5.85,5.85), rotation=pi))
thmitll_merget_v3p0.add(gdstk.Reference(ls_conn_m5m6, (25.85,35.85), rotation=pi))
r = gdstk.Reference(ls_fakejj_3x3um, (5,66.95), rotation=pi); r.repetition = gdstk.Repetition(1, 7, v1=(0,0), v2=(0,-4.3)); thmitll_merget_v3p0.add(r)
thmitll_merget_v3p0.add(gdstk.Reference(ls_conn_m4m5m6m7, (7.15,37.95), rotation=pi))
thmitll_merget_v3p0.add(gdstk.Reference(ls_conn_m4m5m6m7, (1.2,36.15), rotation=3*pi/2))
thmitll_merget_v3p0.add(gdstk.Reference(ls_fakejj_3x3um, (9.3,55), rotation=3*pi/2))
thmitll_merget_v3p0.add(gdstk.Reference(ls_fakejj_3x3um, (9.3,45), rotation=3*pi/2))
thmitll_merget_v3p0.add(gdstk.Reference(ls_fakejj_3x3um, (9.3,65), rotation=3*pi/2))
thmitll_merget_v3p0.add(gdstk.Reference(ls_fakejj_3x3um, (15,49.45), rotation=3*pi/2))
thmitll_merget_v3p0.add(gdstk.Reference(ls_conn_m4m5m6m7, (14,43), rotation=pi/2))
thmitll_merget_v3p0.add(gdstk.Reference(ls_conn_m4m5m6m7, (17.05,43), rotation=pi/2))
thmitll_merget_v3p0.add(gdstk.Reference(ls_conn_m4m5m6m7, (16.6,54.15), rotation=pi))
thmitll_merget_v3p0.add(gdstk.Reference(ls_conn_m4m5m6m7, (16.6,58.1), rotation=pi))
thmitll_merget_v3p0.add(gdstk.Reference(ls_conn_m4m5m6m7, (16.6,62.75), rotation=pi))
thmitll_merget_v3p0.add(gdstk.Reference(ls_conn_m4m5m6m7, (2.65,3.35), rotation=pi/2))
thmitll_merget_v3p0.add(gdstk.Reference(ls_conn_m4m5m6m7, (8.6,3.35), rotation=pi/2))
thmitll_merget_v3p0.add(gdstk.Reference(ls_conn_m4m5m6m7, (11.4,3.3), rotation=pi/2))
thmitll_merget_v3p0.add(gdstk.Reference(ls_conn_m4m5m6m7, (19.9,3.3), rotation=pi/2))
thmitll_merget_v3p0.add(gdstk.Reference(ls_conn_m4m5m6m7, (24.65,6.55), rotation=pi/2))
thmitll_merget_v3p0.add(gdstk.Reference(ls_conn_m4m5m6m7, (24.4,4.45), rotation=pi))
thmitll_merget_v3p0.add(gdstk.Reference(ls_conn_m4m5m6m7, (24.4,16.2), rotation=pi/2))
thmitll_merget_v3p0.add(gdstk.Reference(ls_conn_m4m5m6m7, (26.85,20.25), rotation=pi/2))
thmitll_merget_v3p0.add(gdstk.Reference(ls_fakejj_3x3um, (20.8,25), rotation=pi/2))
thmitll_merget_v3p0.add(gdstk.Reference(ls_conn_m4m5m6m7, (15.85,23.05), rotation=pi/2))
thmitll_merget_v3p0.add(gdstk.Reference(ls_conn_m4m5m6m7, (31.75,15.7), rotation=pi))
thmitll_merget_v3p0.add(gdstk.Reference(ls_conn_m4m5m6m7, (16.6,31.8), rotation=pi))
thmitll_merget_v3p0.add(gdstk.Reference(ls_conn_m4m5m6m7, (17,29.1), rotation=pi))
thmitll_merget_v3p0.add(gdstk.Reference(ls_conn_m4m5m6m7, (31.7,24.45), rotation=pi))
thmitll_merget_v3p0.add(gdstk.Reference(ls_conn_m4m5m6m7, (41.4,65.4), rotation=pi))
thmitll_merget_v3p0.add(gdstk.Reference(ls_conn_m4m5m6m7, (34.4,64.45), rotation=pi))
thmitll_merget_v3p0.add(gdstk.Reference(ls_conn_m4m5m6m7, (34.6,58.4), rotation=pi/2))
thmitll_merget_v3p0.add(gdstk.Reference(ls_conn_m4m5m6m7, (31.45,47), rotation=pi))
thmitll_merget_v3p0.add(gdstk.Reference(ls_conn_m4m5m6m7, (45.55,43.95), rotation=pi/2))
thmitll_merget_v3p0.add(gdstk.Reference(ls_conn_m4m5m6m7, (47.35,46.9), rotation=3*pi/2))
thmitll_merget_v3p0.add(gdstk.Reference(ls_fakejj_3x3um, (45,40.35), rotation=3*pi/2))
thmitll_merget_v3p0.add(gdstk.Reference(ls_conn_m4m5m6m7, (39.95,43.25), rotation=pi/2))
thmitll_merget_v3p0.add(gdstk.Reference(ls_conn_m4m5m6m7, (33.8,41.65)))
thmitll_merget_v3p0.add(gdstk.Reference(ls_fakejj_3x3um, (35.15,46.3)))
thmitll_merget_v3p0.add(gdstk.Reference(ls_conn_m4m5m6m7, (42.65,43.85), rotation=pi/2))
thmitll_merget_v3p0.add(gdstk.Reference(ls_conn_m4m5m6m7, (48.8,53.2), rotation=pi/2))
thmitll_merget_v3p0.add(gdstk.Reference(ls_conn_m4m5m6m7, (28.85,43)))
r = gdstk.Reference(ls_fakejj_3x3um, (45,3.05)); r.repetition = gdstk.Repetition(1, 7, v1=(0,0), v2=(0,4.3)); thmitll_merget_v3p0.add(r)
thmitll_merget_v3p0.add(gdstk.Reference(ls_fakejj_3x3um, (40.7,15)))
thmitll_merget_v3p0.add(gdstk.Reference(ls_conn_m4m5m6m7, (41.55,25.65), rotation=pi))
thmitll_merget_v3p0.add(gdstk.Reference(ls_conn_m4m5m6m7, (38.65,3.35), rotation=pi/2))
thmitll_merget_v3p0.add(gdstk.Reference(ls_conn_m4m5m6m7, (41.6,3.35), rotation=pi/2))
thmitll_merget_v3p0.add(gdstk.Reference(ls_conn_m4m5m6m7, (36.95,15.7), rotation=pi/2))
thmitll_merget_v3p0.add(gdstk.Reference(ls_conn_m4m5m6m7, (36.95,10.3), rotation=pi/2))
thmitll_merget_v3p0.add(gdstk.Reference(ls_fakejj_1p5x1p5um, (10,60), rotation=pi/2))
thmitll_merget_v3p0.add(gdstk.Reference(ls_fakejj_1p5x1p5um, (20,60), rotation=pi/2))
thmitll_merget_v3p0.add(gdstk.Reference(ls_fakejj_1p5x1p5um, (30,60), rotation=pi/2))
thmitll_merget_v3p0.add(gdstk.Reference(ls_fakejj_1p5x1p5um, (40,60), rotation=pi/2))
thmitll_merget_v3p0.add(gdstk.Reference(ls_fakejj_1p5x1p5um, (10,50), rotation=pi/2))
thmitll_merget_v3p0.add(gdstk.Reference(ls_fakejj_1p5x1p5um, (30,50), rotation=pi/2))
thmitll_merget_v3p0.add(gdstk.Reference(ls_fakejj_1p5x1p5um, (40,50), rotation=pi/2))
thmitll_merget_v3p0.add(gdstk.Reference(ls_fakejj_1p5x1p5um, (40,40), rotation=pi/2))
thmitll_merget_v3p0.add(gdstk.Reference(ls_fakejj_1p5x1p5um, (30,40), rotation=pi/2))
thmitll_merget_v3p0.add(gdstk.Reference(ls_fakejj_1p5x1p5um, (20,40), rotation=pi/2))
thmitll_merget_v3p0.add(gdstk.Reference(ls_fakejj_1p5x1p5um, (10,30), rotation=pi/2))
thmitll_merget_v3p0.add(gdstk.Reference(ls_fakejj_1p5x1p5um, (20,30), rotation=pi/2))
thmitll_merget_v3p0.add(gdstk.Reference(ls_fakejj_1p5x1p5um, (30,30), rotation=pi/2))
thmitll_merget_v3p0.add(gdstk.Reference(ls_fakejj_1p5x1p5um, (40,30), rotation=pi/2))
thmitll_merget_v3p0.add(gdstk.Reference(ls_fakejj_1p5x1p5um, (40,20), rotation=pi/2))
thmitll_merget_v3p0.add(gdstk.Reference(ls_fakejj_1p5x1p5um, (30,20), rotation=pi/2))
thmitll_merget_v3p0.add(gdstk.Reference(ls_fakejj_1p5x1p5um, (20,20), rotation=pi/2))
thmitll_merget_v3p0.add(gdstk.Reference(ls_fakejj_1p5x1p5um, (10,20), rotation=pi/2))
thmitll_merget_v3p0.add(gdstk.Reference(ls_fakejj_1p5x1p5um, (10,10), rotation=pi/2))
thmitll_merget_v3p0.add(gdstk.Reference(ls_fakejj_1p5x1p5um, (20,10), rotation=pi/2))
thmitll_merget_v3p0.add(gdstk.Reference(ls_fakejj_1p5x1p5um, (30,10), rotation=pi/2))
thmitll_merget_v3p0.add(gdstk.Reference(ls_fakejj_1p5x1p5um, (40,10), rotation=pi/2))
thmitll_merget_v3p0.add(gdstk.Label('VDD', (15,69.55), layer=50, texttype=0))
thmitll_merget_v3p0.add(gdstk.Label('VDD', (5,0.5), layer=50, texttype=0))
thmitll_merget_v3p0.add(gdstk.Label('VDD', (35,0.45), layer=50, texttype=0))
thmitll_merget_v3p0.add(gdstk.Label('GND', (13.45,69.15), layer=40, texttype=0))
thmitll_merget_v3p0.add(gdstk.Label('J9 M6 M5', (33.85,34.4), layer=182, texttype=0))
thmitll_merget_v3p0.add(gdstk.Label('J1 M6 M5', (16.1,14.6), layer=182, texttype=0))
thmitll_merget_v3p0.add(gdstk.Label('J2 M6 M5', (4.45,24.95), layer=182, texttype=0))
thmitll_merget_v3p0.add(gdstk.Label('J3 M6 M5', (12.3,34.5), layer=182, texttype=0))
thmitll_merget_v3p0.add(gdstk.Label('J4 M6 M5', (16.15,34.45), layer=182, texttype=0))
thmitll_merget_v3p0.add(gdstk.Label('J5 M6 M5', (45.05,55.6), layer=182, texttype=0))
thmitll_merget_v3p0.add(gdstk.Label('J6 M6 M5', (25.6,56.2), layer=182, texttype=0))
thmitll_merget_v3p0.add(gdstk.Label('J7 M6 M5', (25.65,47.7), layer=182, texttype=0))
thmitll_merget_v3p0.add(gdstk.Label('J8 M6 M5', (25.65,43.8), layer=182, texttype=0))
thmitll_merget_v3p0.add(gdstk.Label('PB3 M6 M4', (36.4,66.35), layer=182, texttype=0))
thmitll_merget_v3p0.add(gdstk.Label('PB4 M6 M4', (28.35,64.1), layer=182, texttype=0))
thmitll_merget_v3p0.add(gdstk.Label('PB5 M6 M4', (24.6,26.4), layer=182, texttype=0))
thmitll_merget_v3p0.add(gdstk.Label('PB6 M6 M4', (36.5,29.95), layer=182, texttype=0))
thmitll_merget_v3p0.add(gdstk.Label('PB1 M6 M4', (26.4,17.45), layer=182, texttype=0))
thmitll_merget_v3p0.add(gdstk.Label('PB2 M6 M4', (4,21.45), layer=182, texttype=0))
thmitll_merget_v3p0.add(gdstk.Label('P2 M6 M4', (45,61.5), layer=182, texttype=0))
thmitll_merget_v3p0.add(gdstk.Label('P1 M6 M4', (15,8.5), layer=182, texttype=0))
thmitll_merget_v3p0.add(gdstk.Label('P3 M6 M4', (37.6,35), layer=182, texttype=0))
thmitll_merget_v3p0.add(gdstk.Label('RIB1', (26.4,11.35), layer=52, texttype=11))
thmitll_merget_v3p0.add(gdstk.Label('RIB2', (3.95,17.05), layer=52, texttype=11))
thmitll_merget_v3p0.add(gdstk.Label('RIB3', (29.3,66.5), layer=52, texttype=11))
thmitll_merget_v3p0.add(gdstk.Label('RIB4', (23.45,64.15), layer=52, texttype=11))
thmitll_merget_v3p0.add(gdstk.Label('RIB5', (29.05,26.35), layer=52, texttype=11))
thmitll_merget_v3p0.add(gdstk.Label('RIB6', (36.65,25.5), layer=52, texttype=11))
thmitll_merget_v3p0.add(gdstk.Label('RB1', (16.05,17.4), layer=52, texttype=11))
thmitll_merget_v3p0.add(gdstk.Label('RB2', (8.4,24.95), layer=52, texttype=11))
thmitll_merget_v3p0.add(gdstk.Label('RB3', (12.35,37.45), layer=52, texttype=11))
thmitll_merget_v3p0.add(gdstk.Label('RB4', (16.2,37.6), layer=52, texttype=11))
thmitll_merget_v3p0.add(gdstk.Label('RB5', (44.95,52.75), layer=52, texttype=11))
thmitll_merget_v3p0.add(gdstk.Label('RB6', (21.7,56.15), layer=52, texttype=11))
thmitll_merget_v3p0.add(gdstk.Label('RB7', (21.7,47.7), layer=52, texttype=11))
thmitll_merget_v3p0.add(gdstk.Label('RB8', (22.25,43.85), layer=52, texttype=11))
thmitll_merget_v3p0.add(gdstk.Label('RB9', (33.75,37.3), layer=52, texttype=11))
thmitll_merget_v3p0.add(gdstk.Label('RD', (38.6,35.05), layer=52, texttype=11))
thmitll_merget_v3p0.add(gdstk.Label('b', (45,65), layer=60, texttype=5))
thmitll_merget_v3p0.add(gdstk.Label('a', (15,5), layer=60, texttype=5))
thmitll_merget_v3p0.add(gdstk.Label('q', (45,35), layer=60, texttype=5))

lib.write_gds('THmitll_MERGET_v3p0.gds')
